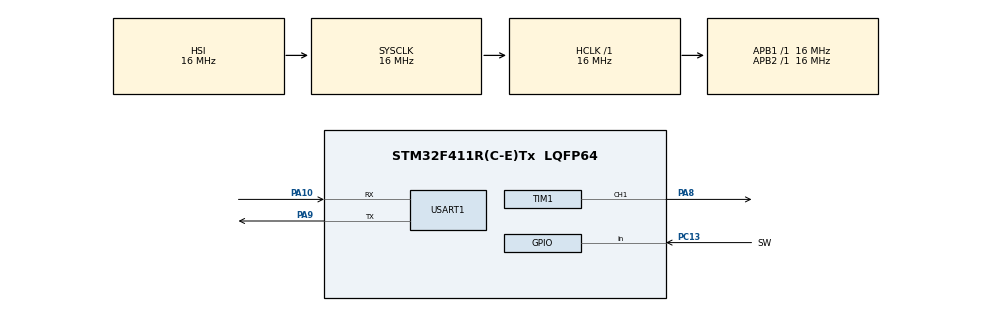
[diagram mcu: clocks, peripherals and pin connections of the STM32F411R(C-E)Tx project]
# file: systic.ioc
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Mcu.Family=STM32F4
Mcu.Name=STM32F411R(C-E)Tx
Mcu.Package=LQFP64
NVIC.PriorityGroup=NVIC_PRIORITYGROUP_4
PA10.Mode=Asynchronous
PA10.Signal=USART1_RX
PA8.Signal=S_TIM1_CH1
PA9.Mode=Asynchronous
PA9.Signal=USART1_TX
PC13-ANTI_TAMP.GPIO_Label=SW
PC13-ANTI_TAMP.GPIO_PuPd=GPIO_PULLUP
PC13-ANTI_TAMP.Signal=GPIO_Input
ProjectManager.HeapSize=0x200
ProjectManager.StackSize=0x400
ProjectManager.TargetToolchain=STM32CubeIDE
RCC.AHBFreq_Value=16000000
RCC.APB1Freq_Value=16000000
RCC.APB2Freq_Value=16000000
RCC.CortexFreq_Value=16000000
RCC.HSE_VALUE=25000000
RCC.HSI_VALUE=16000000
RCC.LSE_VALUE=32768
RCC.SYSCLKFreq_VALUE=16000000
RCC.VCOOutputFreq_Value=192000000
SH.S_TIM1_CH1.0=TIM1_CH1,PWM Generation1 CH1
TIM1.Channel-PWM\ Generation1\ CH1=TIM_CHANNEL_1
TIM1.Period=999
TIM1.Prescaler=15
TIM1.Pulse-PWM\ Generation1\ CH1=499
USART1.VirtualMode=VM_ASYNC
VP_TIM1_VS_ClockSourceINT.Mode=Internal
board=custom

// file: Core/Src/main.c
/* USER CODE BEGIN Header */
/**
  ******************************************************************************
  * @file           : main.c
  * @brief          : Main program body
  ******************************************************************************
  * @attention
  *
  * Copyright (c) 2023 STMicroelectronics.
  * All rights reserved.
  *
  * This software is licensed under terms that can be found in the LICENSE file
  * in the root directory of this software component.
  * If no LICENSE file comes with this software, it is provided AS-IS.
  *
  ******************************************************************************
  */
/* USER CODE END Header */
#include "main.h"

/* USER CODE BEGIN Includes */
#include "uart.h"
/* USER CODE END Includes */

TIM_HandleTypeDef htim1;

UART_HandleTypeDef huart1;

void SystemClock_Config(void);
static void MX_GPIO_Init(void);
static void MX_TIM1_Init(void);
static void MX_USART1_UART_Init(void);

/* USER CODE BEGIN 0 */
/*volatile unsigned int "myPointer = ("volatile unsigned int *)0x2001fffd(보내고자하는 주소를 입력해야함, 예를 들어 d(4bite));
//address와 read 주면 result 아니면 else return
 int memory(int addr, int data, int RnW) {
	static int buffer[256];
	int result;
	if(RnW){ //read action
		result = buffer[addr];
	}
	else { //write action
		buffer[addr] = data;
	}
	return result;
} */

//동작주기용 변수
int taskA;
int taskB;
//volatile uint32_t *taskA ... 여기도 할당
/*typedef struct {
	int taskA;
	int taskB;
	...> 구조체로 변경해서 사용하면 전역변수 앞에 wSystem
	하고 uart.c에도 구조체를 넣어서 구조체 안에 구조체.. -> 구조체를 모듈화
typedef struct{
int taska;
int taskb;
uint8....
moter,,,

void에도
static uart_t *uart;
wSystem.uart = usrt;
wStstem이라는 전역변수 하나에 모든 것을 다 넣은 형태임(ex 터치스크린 개발 시)
};*/
//스위치용 함수
uint32_t bufferSwitch;
uint8_t stateSwitch;
//1ms마다 호출되도록
void callbackSystic() {
	//스위치 채터링 제거
	bufferSwitch = bufferSwitch << 1;
	bufferSwitch += HAL_GPIO_ReadPin(SW_GPIO_Port, SW_Pin);
	if(bufferSwitch == 0) stateSwitch = 0;
	if(bufferSwitch == 0xffffffff) stateSwitch == 1;
	//동작 주기 카운트
	if(taskA > 0)taskA-- ;
	if(taskB > 0)taskB-- ;
}
void enableBuzzer() {
	HAL_TIM_PWM_Start(&htim1, TIM_CHANNEL_1);
}
void disableBuzzer(){
	HAL_TIM_PWM_Stop(&htim1, TIM_CHANNEL_1);
}
/* USER CODE END 0 */

int main(void)
{

  /* MCU Configuration--------------------------------------------------------*/

  /* Reset of all peripherals, Initializes the Flash interface and the Systick. */
  HAL_Init();

  /* Configure the system clock */
  SystemClock_Config();

  /* Initialize all configured peripherals */
  MX_GPIO_Init();
  MX_TIM1_Init();
  MX_USART1_UART_Init();
  /* USER CODE BEGIN 2 */
  int count = 0;
  /* USER CODE END 2 */

  /* Infinite loop */
  while (1)
  {

    /* USER CODE BEGIN 3 */
	static int oldSwitch, curSwitch;
	curSwitch = stateSwitch;

	if(oldSwitch != curSwitch){
		//스위치의 상태 변화 (눌렸거나 띄었거나)
		if(curSwitch == 0){
			//스위치 누름
			count++;
			printf("count = %d\n", count);
		}
		else{
			//스위치를 놓음
		}
		oldSwitch = curSwitch;
	}
	//TASKA
	if(taskA == 0){
		taskA = 1300;// taskA의 실행 주기를 ms단위로 적용
		if(count > 0) {
			count--;
			printf("count = %d\n", count);
		}
	}
	//TASKB
	if(taskB == 0){
		taskB = 100;
		static _Bool flagStateBuzzer;
		flagStateBuzzer ^= 1;
		flagStateBuzzer == 0 ? enableBuzzer() : disableBuzzer();
		//todo 다음에 수정할 코드입니다.(나중에 뭔가 추가를 하겠다고 생각이 들면 todo 작업을 해주면 됨)(task에 뜬다)
	}
	/* if(HAL_GPIO_ReadPin(SW_GPIO_Port, SW_Pin) == 0){
		//스위치 눌린거 감지
		while(HAL_GPIO_ReadPin(SW_GPIO_Port, SW_Pin) == 0);
		//스위치 릴리즈
		HAL_Delay(20);
		count++;
		printf("count = %d\n", count);
		HAL_Delay(1000);
	}*/
  }
  /* USER CODE END 3 */
}

void SystemClock_Config(void)
{
  RCC_OscInitTypeDef RCC_OscInitStruct = {0};
  RCC_ClkInitTypeDef RCC_ClkInitStruct = {0};

  /** Configure the main internal regulator output voltage
  */
  __HAL_RCC_PWR_CLK_ENABLE();
  __HAL_PWR_VOLTAGESCALING_CONFIG(PWR_REGULATOR_VOLTAGE_SCALE1);

  /** Initializes the RCC Oscillators according to the specified parameters
  * in the RCC_OscInitTypeDef structure.
  */
  RCC_OscInitStruct.OscillatorType = RCC_OSCILLATORTYPE_HSI;
  RCC_OscInitStruct.HSIState = RCC_HSI_ON;
  RCC_OscInitStruct.HSICalibrationValue = RCC_HSICALIBRATION_DEFAULT;
  RCC_OscInitStruct.PLL.PLLState = RCC_PLL_NONE;
  if (HAL_RCC_OscConfig(&RCC_OscInitStruct) != HAL_OK)
  {
    Error_Handler();
  }

  /** Initializes the CPU, AHB and APB buses clocks
  */
  RCC_ClkInitStruct.ClockType = RCC_CLOCKTYPE_HCLK|RCC_CLOCKTYPE_SYSCLK
                              |RCC_CLOCKTYPE_PCLK1|RCC_CLOCKTYPE_PCLK2;
  RCC_ClkInitStruct.SYSCLKSource = RCC_SYSCLKSOURCE_HSI;
  RCC_ClkInitStruct.AHBCLKDivider = RCC_SYSCLK_DIV1;
  RCC_ClkInitStruct.APB1CLKDivider = RCC_HCLK_DIV1;
  RCC_ClkInitStruct.APB2CLKDivider = RCC_HCLK_DIV1;

  if (HAL_RCC_ClockConfig(&RCC_ClkInitStruct, FLASH_LATENCY_0) != HAL_OK)
  {
    Error_Handler();
  }
}

static void MX_TIM1_Init(void)
{

  TIM_ClockConfigTypeDef sClockSourceConfig = {0};
  TIM_MasterConfigTypeDef sMasterConfig = {0};
  TIM_OC_InitTypeDef sConfigOC = {0};
  TIM_BreakDeadTimeConfigTypeDef sBreakDeadTimeConfig = {0};

  htim1.Instance = TIM1;
  htim1.Init.Prescaler = 15;
  htim1.Init.CounterMode = TIM_COUNTERMODE_UP;
  htim1.Init.Period = 999;
  htim1.Init.ClockDivision = TIM_CLOCKDIVISION_DIV1;
  htim1.Init.RepetitionCounter = 0;
  htim1.Init.AutoReloadPreload = TIM_AUTORELOAD_PRELOAD_DISABLE;
  if (HAL_TIM_Base_Init(&htim1) != HAL_OK)
  {
    Error_Handler();
  }
  sClockSourceConfig.ClockSource = TIM_CLOCKSOURCE_INTERNAL;
  if (HAL_TIM_ConfigClockSource(&htim1, &sClockSourceConfig) != HAL_OK)
  {
    Error_Handler();
  }
  if (HAL_TIM_PWM_Init(&htim1) != HAL_OK)
  {
    Error_Handler();
  }
  sMasterConfig.MasterOutputTrigger = TIM_TRGO_RESET;
  sMasterConfig.MasterSlaveMode = TIM_MASTERSLAVEMODE_DISABLE;
  if (HAL_TIMEx_MasterConfigSynchronization(&htim1, &sMasterConfig) != HAL_OK)
  {
    Error_Handler();
  }
  sConfigOC.OCMode = TIM_OCMODE_PWM1;
  sConfigOC.Pulse = 499;
  sConfigOC.OCPolarity = TIM_OCPOLARITY_HIGH;
  sConfigOC.OCNPolarity = TIM_OCNPOLARITY_HIGH;
  sConfigOC.OCFastMode = TIM_OCFAST_DISABLE;
  sConfigOC.OCIdleState = TIM_OCIDLESTATE_RESET;
  sConfigOC.OCNIdleState = TIM_OCNIDLESTATE_RESET;
  if (HAL_TIM_PWM_ConfigChannel(&htim1, &sConfigOC, TIM_CHANNEL_1) != HAL_OK)
  {
    Error_Handler();
  }
  sBreakDeadTimeConfig.OffStateRunMode = TIM_OSSR_DISABLE;
  sBreakDeadTimeConfig.OffStateIDLEMode = TIM_OSSI_DISABLE;
  sBreakDeadTimeConfig.LockLevel = TIM_LOCKLEVEL_OFF;
  sBreakDeadTimeConfig.DeadTime = 0;
  sBreakDeadTimeConfig.BreakState = TIM_BREAK_DISABLE;
  sBreakDeadTimeConfig.BreakPolarity = TIM_BREAKPOLARITY_HIGH;
  sBreakDeadTimeConfig.AutomaticOutput = TIM_AUTOMATICOUTPUT_DISABLE;
  if (HAL_TIMEx_ConfigBreakDeadTime(&htim1, &sBreakDeadTimeConfig) != HAL_OK)
  {
    Error_Handler();
  }
  HAL_TIM_MspPostInit(&htim1);

}

static void MX_USART1_UART_Init(void)
{

  huart1.Instance = USART1;
  huart1.Init.BaudRate = 115200;
  huart1.Init.WordLength = UART_WORDLENGTH_8B;
  huart1.Init.StopBits = UART_STOPBITS_1;
  huart1.Init.Parity = UART_PARITY_NONE;
  huart1.Init.Mode = UART_MODE_TX_RX;
  huart1.Init.HwFlowCtl = UART_HWCONTROL_NONE;
  huart1.Init.OverSampling = UART_OVERSAMPLING_16;
  if (HAL_UART_Init(&huart1) != HAL_OK)
  {
    Error_Handler();
  }

}

static void MX_GPIO_Init(void)
{
  GPIO_InitTypeDef GPIO_InitStruct = {0};

  /* GPIO Ports Clock Enable */
  __HAL_RCC_GPIOC_CLK_ENABLE();
  __HAL_RCC_GPIOA_CLK_ENABLE();

  /*Configure GPIO pin : SW_Pin */
  GPIO_InitStruct.Pin = SW_Pin;
  GPIO_InitStruct.Mode = GPIO_MODE_INPUT;
  GPIO_InitStruct.Pull = GPIO_PULLUP;
  HAL_GPIO_Init(SW_GPIO_Port, &GPIO_InitStruct);

}

void Error_Handler(void)
{
  __disable_irq();
  while (1)
  {
  }
}
